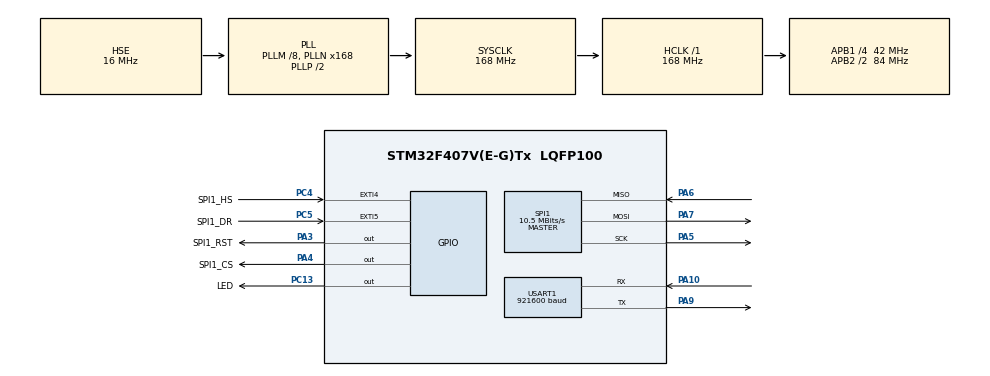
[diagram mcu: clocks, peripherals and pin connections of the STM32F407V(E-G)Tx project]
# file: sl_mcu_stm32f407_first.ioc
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Mcu.Family=STM32F4
Mcu.Name=STM32F407V(E-G)Tx
Mcu.Package=LQFP100
NVIC.EXTI4_IRQn=true\:0\:0\:false\:false\:true\:true\:true\:true
NVIC.EXTI9_5_IRQn=true\:0\:0\:false\:false\:true\:true\:true\:true
NVIC.PriorityGroup=NVIC_PRIORITYGROUP_4
PA10.Mode=Asynchronous
PA10.Signal=USART1_RX
PA13.Mode=Trace_Asynchronous_SW
PA13.Signal=SYS_JTMS-SWDIO
PA14.Mode=Trace_Asynchronous_SW
PA14.Signal=SYS_JTCK-SWCLK
PA3.GPIO_Label=SPI1_RST
PA3.GPIO_ModeDefaultOutputPP=GPIO_MODE_OUTPUT_OD
PA3.GPIO_PuPd=GPIO_NOPULL
PA3.PinState=GPIO_PIN_SET
PA3.Signal=GPIO_Output
PA4.GPIO_Label=SPI1_CS
PA4.GPIO_Speed=GPIO_SPEED_FREQ_VERY_HIGH
PA4.PinState=GPIO_PIN_SET
PA4.Signal=GPIO_Output
PA5.Mode=Full_Duplex_Master
PA5.Signal=SPI1_SCK
PA6.Mode=Full_Duplex_Master
PA6.Signal=SPI1_MISO
PA7.Mode=Full_Duplex_Master
PA7.Signal=SPI1_MOSI
PA9.Mode=Asynchronous
PA9.Signal=USART1_TX
PB3.Mode=Trace_Asynchronous_SW
PB3.Signal=SYS_JTDO-SWO
PC13-ANTI_TAMP.GPIO_Label=LED
PC13-ANTI_TAMP.GPIO_ModeDefaultOutputPP=GPIO_MODE_OUTPUT_OD
PC13-ANTI_TAMP.GPIO_PuPd=GPIO_NOPULL
PC13-ANTI_TAMP.PinState=GPIO_PIN_SET
PC13-ANTI_TAMP.Signal=GPIO_Output
PC4.GPIO_Label=SPI1_HS
PC4.GPIO_PuPd=GPIO_PULLDOWN
PC4.Signal=GPXTI4
PC5.GPIO_Label=SPI1_DR
PC5.GPIO_PuPd=GPIO_PULLDOWN
PC5.Signal=GPXTI5
PH0-OSC_IN.Mode=HSE-External-Oscillator
PH0-OSC_IN.Signal=RCC_OSC_IN
PH1-OSC_OUT.Mode=HSE-External-Oscillator
PH1-OSC_OUT.Signal=RCC_OSC_OUT
ProjectManager.HeapSize=0x200
ProjectManager.StackSize=0x400
ProjectManager.TargetToolchain=STM32CubeIDE
RCC.48MHZClocksFreq_Value=84000000
RCC.AHBFreq_Value=168000000
RCC.APB1CLKDivider=RCC_HCLK_DIV4
RCC.APB1Freq_Value=42000000
RCC.APB1TimFreq_Value=84000000
RCC.APB2CLKDivider=RCC_HCLK_DIV2
RCC.APB2Freq_Value=84000000
RCC.APB2TimFreq_Value=168000000
RCC.CortexFreq_Value=168000000
RCC.HCLKFreq_Value=168000000
RCC.HSE_VALUE=16000000
RCC.HSI_VALUE=16000000
RCC.LSE_VALUE=32768
RCC.PLLM=8
RCC.PLLN=168
RCC.PLLSourceVirtual=RCC_PLLSOURCE_HSE
RCC.SYSCLKFreq_VALUE=168000000
RCC.SYSCLKSource=RCC_SYSCLKSOURCE_PLLCLK
RCC.VCOOutputFreq_Value=336000000
SPI1.BaudRatePrescaler=SPI_BAUDRATEPRESCALER_8
SPI1.CLKPhase=SPI_PHASE_2EDGE
SPI1.CLKPolarity=SPI_POLARITY_HIGH
SPI1.CalculateBaudRate=10.5 MBits/s
SPI1.Direction=SPI_DIRECTION_2LINES
SPI1.Mode=SPI_MODE_MASTER
SPI1.VirtualType=VM_MASTER
USART1.BaudRate=921600
USART1.VirtualMode=VM_ASYNC
board=custom

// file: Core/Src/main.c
/* USER CODE BEGIN Header */
/**
 ******************************************************************************
 * @file           : main.c
 * @brief          : Main program body
 ******************************************************************************
 * @attention
 *
 * Copyright (c) 2026 STM32World <lth@stm32world.com>
 * All rights reserved.
 *
 * This software is licensed under terms that can be found in the LICENSE file
 * in the root directory of this software component.
 * If no LICENSE file comes with this software, it is provided AS-IS.
 *
 ******************************************************************************
 */
/* USER CODE END Header */
#include "main.h"

/* USER CODE BEGIN Includes */
#include <stdio.h>
#include "esp_host.h"
#include "esp_rpc.h"
#include "wifi_sta.h"
#include "wifi_secrets.h"
#include "wifi_netif.h"

/* USER CODE END Includes */

SPI_HandleTypeDef hspi1;

UART_HandleTypeDef huart1;

void SystemClock_Config(void);
static void MX_GPIO_Init(void);
static void MX_SPI1_Init(void);
static void MX_USART1_UART_Init(void);

/* USER CODE BEGIN 0 */

// Send printf to uart1
int __io_putchar(int ch) {
    if (ch == '\n') {
        HAL_UART_Transmit(&huart1, (uint8_t*) "\r", 1, HAL_MAX_DELAY);
    }
    if (HAL_UART_Transmit(&huart1, (uint8_t*) &ch, 1, HAL_MAX_DELAY) != HAL_OK) {
        return -1;
    }
    return ch;
}

/* USER CODE END 0 */

int main(void)
{

  /* MCU Configuration--------------------------------------------------------*/

  /* Reset of all peripherals, Initializes the Flash interface and the Systick. */
  HAL_Init();

  /* Configure the system clock */
  SystemClock_Config();

  /* Initialize all configured peripherals */
  MX_GPIO_Init();
  MX_SPI1_Init();
  MX_USART1_UART_Init();
  /* USER CODE BEGIN 2 */

    printf("\n\n\nStarting WiFi First\n");

    esp_rpc_init(wifi_sta_rpc_event);
    wifi_sta_init(WIFI_SSID, WIFI_PASSWORD);
    wifi_netif_init();
    esp_host_init(&hspi1);

  /* USER CODE END 2 */

  /* Infinite loop */
  /* USER CODE BEGIN WHILE */

    uint32_t now, next_blink = 500, next_status = 30000;

    while (1) {

        now = uwTick;

        if (now >= next_blink) {
            HAL_GPIO_TogglePin(LED_GPIO_Port, LED_Pin);
            next_blink = now + 500;
        }

        if (now >= next_status) {
            const esp_spi_stats_t *st = esp_spi_get_stats();
            uint32_t ip = wifi_netif_get_ip();
            printf("status: up %lu s, ip %lu.%lu.%lu.%lu, spi xfer %lu tx %lu rx %lu, errors %lu/%lu/%lu\n",
                    now / 1000, ip & 0xff, (ip >> 8) & 0xff, (ip >> 16) & 0xff, ip >> 24,
                    st->transactions, st->tx_frames, st->rx_frames,
                    st->rx_bad_checksum, st->rx_bad_header, st->spi_errors);
            next_status = now + 30000;
        }

        esp_host_poll();
        wifi_sta_poll();
        wifi_netif_poll();

    /* USER CODE END WHILE */

    }
}

void SystemClock_Config(void)
{
  RCC_OscInitTypeDef RCC_OscInitStruct = {0};
  RCC_ClkInitTypeDef RCC_ClkInitStruct = {0};

  /** Configure the main internal regulator output voltage
  */
  __HAL_RCC_PWR_CLK_ENABLE();
  __HAL_PWR_VOLTAGESCALING_CONFIG(PWR_REGULATOR_VOLTAGE_SCALE1);

  /** Initializes the RCC Oscillators according to the specified parameters
  * in the RCC_OscInitTypeDef structure.
  */
  RCC_OscInitStruct.OscillatorType = RCC_OSCILLATORTYPE_HSE;
  RCC_OscInitStruct.HSEState = RCC_HSE_ON;
  RCC_OscInitStruct.PLL.PLLState = RCC_PLL_ON;
  RCC_OscInitStruct.PLL.PLLSource = RCC_PLLSOURCE_HSE;
  RCC_OscInitStruct.PLL.PLLM = 8;
  RCC_OscInitStruct.PLL.PLLN = 168;
  RCC_OscInitStruct.PLL.PLLP = RCC_PLLP_DIV2;
  RCC_OscInitStruct.PLL.PLLQ = 4;
  if (HAL_RCC_OscConfig(&RCC_OscInitStruct) != HAL_OK)
  {
    Error_Handler();
  }

  /** Initializes the CPU, AHB and APB buses clocks
  */
  RCC_ClkInitStruct.ClockType = RCC_CLOCKTYPE_HCLK|RCC_CLOCKTYPE_SYSCLK
                              |RCC_CLOCKTYPE_PCLK1|RCC_CLOCKTYPE_PCLK2;
  RCC_ClkInitStruct.SYSCLKSource = RCC_SYSCLKSOURCE_PLLCLK;
  RCC_ClkInitStruct.AHBCLKDivider = RCC_SYSCLK_DIV1;
  RCC_ClkInitStruct.APB1CLKDivider = RCC_HCLK_DIV4;
  RCC_ClkInitStruct.APB2CLKDivider = RCC_HCLK_DIV2;

  if (HAL_RCC_ClockConfig(&RCC_ClkInitStruct, FLASH_LATENCY_5) != HAL_OK)
  {
    Error_Handler();
  }
}

static void MX_SPI1_Init(void)
{

  /* SPI1 parameter configuration*/
  hspi1.Instance = SPI1;
  hspi1.Init.Mode = SPI_MODE_MASTER;
  hspi1.Init.Direction = SPI_DIRECTION_2LINES;
  hspi1.Init.DataSize = SPI_DATASIZE_8BIT;
  hspi1.Init.CLKPolarity = SPI_POLARITY_HIGH;
  hspi1.Init.CLKPhase = SPI_PHASE_2EDGE;
  hspi1.Init.NSS = SPI_NSS_SOFT;
  hspi1.Init.BaudRatePrescaler = SPI_BAUDRATEPRESCALER_8;
  hspi1.Init.FirstBit = SPI_FIRSTBIT_MSB;
  hspi1.Init.TIMode = SPI_TIMODE_DISABLE;
  hspi1.Init.CRCCalculation = SPI_CRCCALCULATION_DISABLE;
  hspi1.Init.CRCPolynomial = 10;
  if (HAL_SPI_Init(&hspi1) != HAL_OK)
  {
    Error_Handler();
  }

}

static void MX_USART1_UART_Init(void)
{

  huart1.Instance = USART1;
  huart1.Init.BaudRate = 921600;
  huart1.Init.WordLength = UART_WORDLENGTH_8B;
  huart1.Init.StopBits = UART_STOPBITS_1;
  huart1.Init.Parity = UART_PARITY_NONE;
  huart1.Init.Mode = UART_MODE_TX_RX;
  huart1.Init.HwFlowCtl = UART_HWCONTROL_NONE;
  huart1.Init.OverSampling = UART_OVERSAMPLING_16;
  if (HAL_UART_Init(&huart1) != HAL_OK)
  {
    Error_Handler();
  }

}

static void MX_GPIO_Init(void)
{
  GPIO_InitTypeDef GPIO_InitStruct = {0};

  /* GPIO Ports Clock Enable */
  __HAL_RCC_GPIOC_CLK_ENABLE();
  __HAL_RCC_GPIOH_CLK_ENABLE();
  __HAL_RCC_GPIOA_CLK_ENABLE();
  __HAL_RCC_GPIOB_CLK_ENABLE();

  /*Configure GPIO pin Output Level */
  HAL_GPIO_WritePin(LED_GPIO_Port, LED_Pin, GPIO_PIN_SET);

  /*Configure GPIO pin Output Level */
  HAL_GPIO_WritePin(SPI1_RST_GPIO_Port, SPI1_RST_Pin, GPIO_PIN_SET);

  /*Configure GPIO pin Output Level */
  HAL_GPIO_WritePin(SPI1_CS_GPIO_Port, SPI1_CS_Pin, GPIO_PIN_SET);

  /*Configure GPIO pin : LED_Pin */
  GPIO_InitStruct.Pin = LED_Pin;
  GPIO_InitStruct.Mode = GPIO_MODE_OUTPUT_OD;
  GPIO_InitStruct.Pull = GPIO_NOPULL;
  GPIO_InitStruct.Speed = GPIO_SPEED_FREQ_LOW;
  HAL_GPIO_Init(LED_GPIO_Port, &GPIO_InitStruct);

  /*Configure GPIO pin : SPI1_RST_Pin */
  GPIO_InitStruct.Pin = SPI1_RST_Pin;
  GPIO_InitStruct.Mode = GPIO_MODE_OUTPUT_OD;
  GPIO_InitStruct.Pull = GPIO_NOPULL;
  GPIO_InitStruct.Speed = GPIO_SPEED_FREQ_LOW;
  HAL_GPIO_Init(SPI1_RST_GPIO_Port, &GPIO_InitStruct);

  /*Configure GPIO pin : SPI1_CS_Pin */
  GPIO_InitStruct.Pin = SPI1_CS_Pin;
  GPIO_InitStruct.Mode = GPIO_MODE_OUTPUT_PP;
  GPIO_InitStruct.Pull = GPIO_NOPULL;
  GPIO_InitStruct.Speed = GPIO_SPEED_FREQ_VERY_HIGH;
  HAL_GPIO_Init(SPI1_CS_GPIO_Port, &GPIO_InitStruct);

  /*Configure GPIO pins : SPI1_HS_Pin SPI1_DR_Pin */
  GPIO_InitStruct.Pin = SPI1_HS_Pin|SPI1_DR_Pin;
  GPIO_InitStruct.Mode = GPIO_MODE_IT_RISING;
  GPIO_InitStruct.Pull = GPIO_PULLDOWN;
  HAL_GPIO_Init(GPIOC, &GPIO_InitStruct);

  /* EXTI interrupt init*/
  HAL_NVIC_SetPriority(EXTI4_IRQn, 0, 0);
  HAL_NVIC_EnableIRQ(EXTI4_IRQn);

  HAL_NVIC_SetPriority(EXTI9_5_IRQn, 0, 0);
  HAL_NVIC_EnableIRQ(EXTI9_5_IRQn);

}

void Error_Handler(void)
{
    __disable_irq();
    while (1)
    {
    }
}
